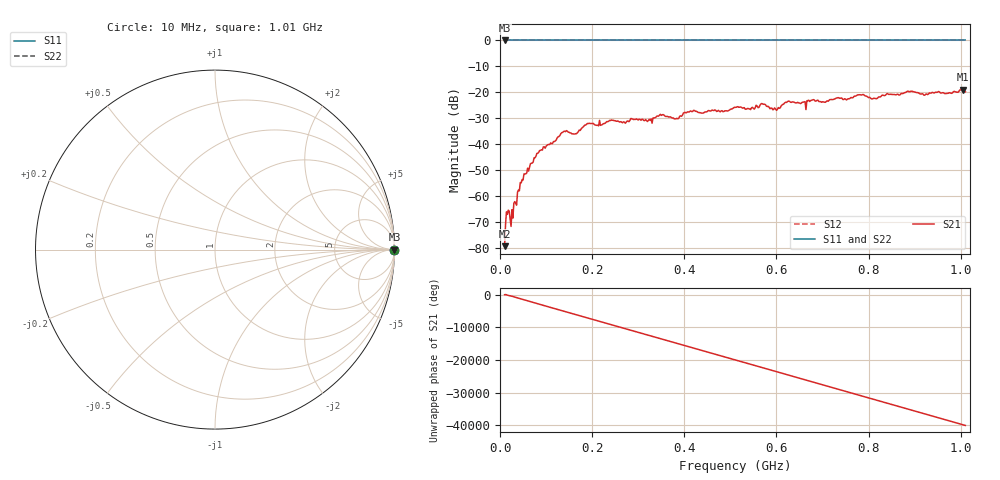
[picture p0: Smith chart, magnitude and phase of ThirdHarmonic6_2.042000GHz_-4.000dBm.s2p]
! 8/17/2025 12:29:13 AM
! C:\ANRITSUVNA\TEMP\TEMP.S2P
! CHANNEL.1
! TR.MEASUREMENT
! RAW.DATA
! RF.CORRECTION.OFF
! AVERAGING.OFF
! IF.BANDWIDTH: 5KHZ
! SWEEPTYPE:  FREQ.SWEEP(Linear)
! Reference Plane Port Info
! PORT:  PORT1  PORT2
! DISTANCE:  0  m  0  m
! TIME:  0  s  0  s
! PHASE.OFFSET:  0  deg.  0  deg.
! LOSS:  0  dB  0  dB
! REF.LOSS:  0  dB  0  dB
! REF.FREQ:  0  Hz  0  Hz
! Power Info
! POWER:  -20  dBm  -20  dBm
! EFF.POWER:  -20  dBm  -20  dBm
! SOURCE.ATTEN:  0  dB  0  dB
! TEST.ATTEN:  0  dB  0  dB
# GHZ S RI R 50.0
! FREQ.GHZ  S11RE  S11IM  S21RE  S21IM  S12RE  S12IM  S22RE  S22IM
!; PortSelection: Port_12
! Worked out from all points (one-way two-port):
!   501 points, 10 MHz to 1.01 GHz, reference 50 ohm
!   highest |S21| = -19.02 dB at 1.004 GHz (marker M1); lowest = -79.4 dB at 10 MHz (marker M2)
!   lowest |S11| = 0.0 dB at 10 MHz (marker M3)
!   |S11| at or under -10 dB: nowhere
!   |S22| runs from 0.0 to 0.0 dB; largest |S21 - S12| = 1.1
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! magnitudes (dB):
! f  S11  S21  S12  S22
! 10 MHz  0.0  -79.4  0.0  0.0
! 16 MHz  0.0  -67.1  0.0  0.0
! 26 MHz  0.0  -65.3  0.0  0.0
! 48 MHz  0.0  -53.7  0.0  0.0
! 82 MHz  0.0  -43.6  0.0  0.0
! 136 MHz  0.0  -35.5  0.0  0.0
! 162 MHz  0.0  -36.1  0.0  0.0
! 178 MHz  0.0  -33.7  0.0  0.0
! 242 MHz  0.0  -30.7  0.0  0.0
! 326 MHz  0.0  -30.9  0.0  0.0
! 344 MHz  0.0  -29.2  0.0  0.0
! 382 MHz  0.0  -30.2  0.0  0.0
! 418 MHz  0.0  -27.4  0.0  0.0
! 510 MHz  0.0  -25.8  0.0  0.0
! 570 MHz  0.0  -24.5  0.0  0.0
! 598 MHz  0.0  -26.5  0.0  0.0
! 624 MHz  0.0  -23.6  0.0  0.0
! 678 MHz  0.0  -23.0  0.0  0.0
! 812 MHz  0.0  -22.3  0.0  0.0
! 844 MHz  0.0  -20.8  0.0  0.0
! 1.004 GHz  0.0  -19.0  0.0  0.0
! 1.01 GHz  0.0  -19.8  0.0  0.0
